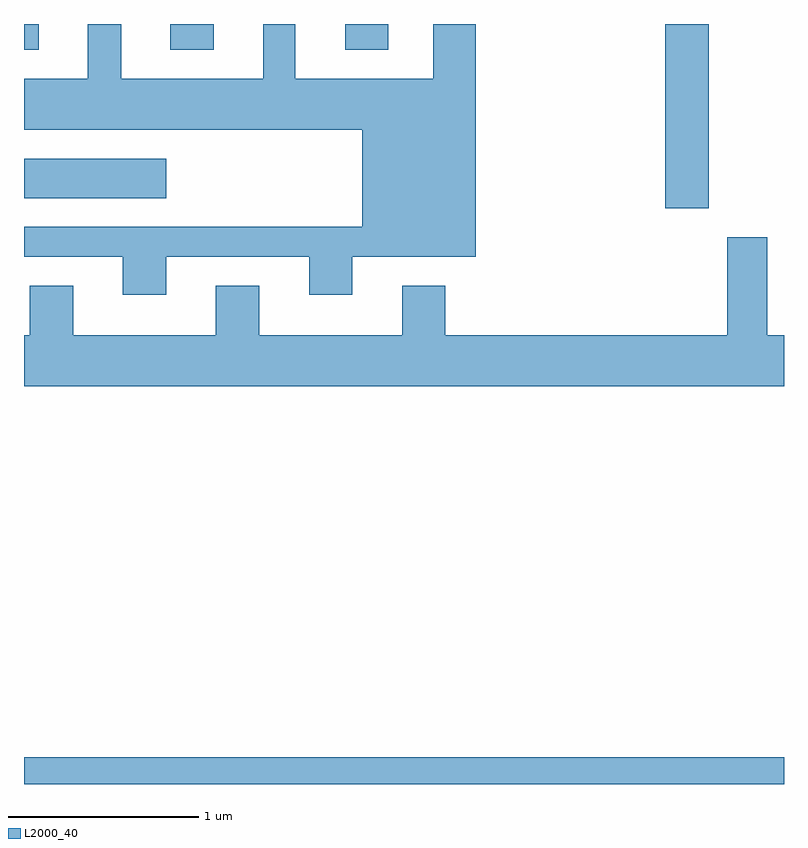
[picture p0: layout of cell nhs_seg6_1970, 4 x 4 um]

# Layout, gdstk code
import gdstk
lib = gdstk.Library(unit=1e-6, precision=1e-09)
def R(c, l, rs):  # rectangles x0, y0, x1, y1
    for r in rs: c.add(gdstk.rectangle(r[:2], r[2:], *l))
def P(c, l, *ps):  # polygons
    for p in ps: c.add(gdstk.Polygon(p, *l))
L2000_40 = (2000, 40)

nhs_seg6_1970 = lib.new_cell('nhs_seg6_1970')
R(nhs_seg6_1970, L2000_40, [(245.611,1550.162,249.611,1550.304), (248.986,1553.191,249.214,1554.162), (245.611,1553.246,246.359,1553.454), (245.611,1554.026,245.689,1554.162), (246.381,1554.026,246.609,1554.162), (247.301,1554.026,247.529,1554.162)])
P(nhs_seg6_1970, L2000_40, [(246.359,1552.936),(247.111,1552.936),(247.111,1552.736),(247.339,1552.736),(247.339,1552.936),(247.989,1552.936),(247.989,1554.162),(247.766,1554.162),(247.766,1553.874),(247.039,1553.874),(247.039,1554.162),(246.871,1554.162),(246.871,1553.874),(246.124,1553.874),(246.124,1554.162),(245.946,1554.162),(245.946,1553.874),(245.611,1553.874),(245.611,1553.606),(247.391,1553.606),(247.391,1553.094),(245.611,1553.094),(245.611,1552.936),(246.131,1552.936),(246.131,1552.736),(246.359,1552.736)],
  [(249.611,1552.524),(249.524,1552.524),(249.524,1553.039),(249.311,1553.039),(249.311,1552.524),(247.829,1552.524),(247.829,1552.784),(247.601,1552.784),(247.601,1552.524),(246.849,1552.524),(246.849,1552.784),(246.621,1552.784),(246.621,1552.524),(245.869,1552.524),(245.869,1552.784),(245.641,1552.784),(245.641,1552.524),(245.611,1552.524),(245.611,1552.256),(249.611,1552.256)])

lib.write_gds('nhs_seg6_1970.gds')
